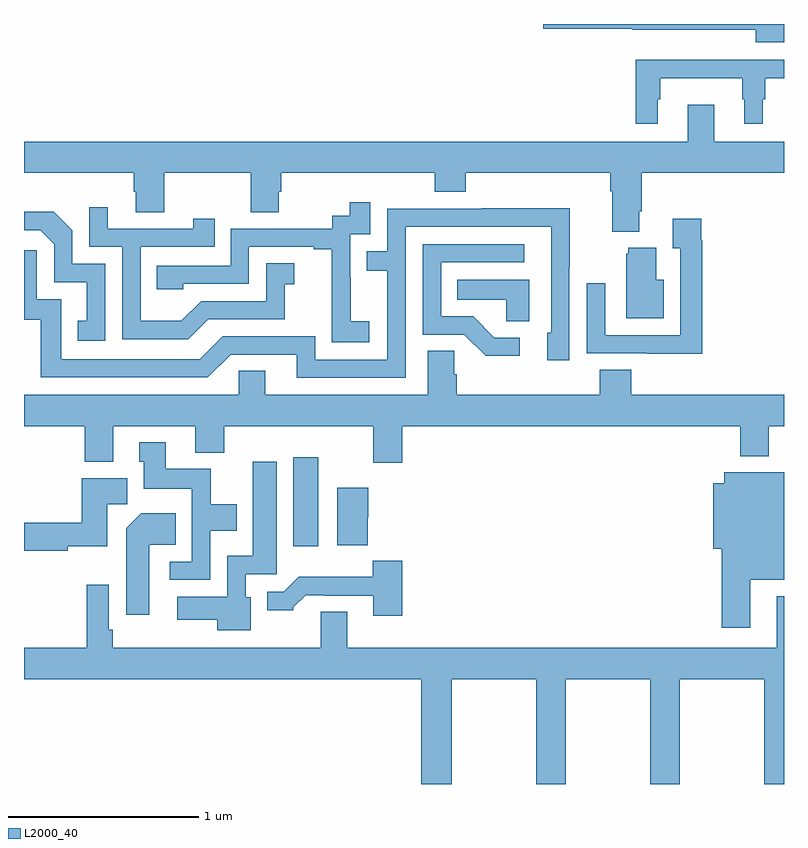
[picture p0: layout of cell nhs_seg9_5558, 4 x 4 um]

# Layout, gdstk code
import gdstk
lib = gdstk.Library(unit=1e-6, precision=1e-09)
def R(c, l, rs):  # rectangles x0, y0, x1, y1
    for r in rs: c.add(gdstk.rectangle(r[:2], r[2:], *l))
def P(c, l, *ps):  # polygons
    for p in ps: c.add(gdstk.Polygon(p, *l))
L2000_40 = (2000, 40)

nhs_seg9_5558 = lib.new_cell('nhs_seg9_5558')
R(nhs_seg9_5558, L2000_40, [(434.417,1231.752,434.548,1232.221)])
P(nhs_seg9_5558, L2000_40, [(437,1234.5),(435.732,1234.5),(435.732,1234.475),(436.2,1234.475),(436.2,1234.469),(436.85,1234.469),(436.85,1234.403),(437,1234.403)],
  [(436.336,1234.103),(436.348,1234.103),(436.348,1234.214),(436.779,1234.214),(436.779,1234.103),(436.79,1234.103),(436.79,1233.975),(436.888,1233.975),(436.888,1234.103),(436.9,1234.103),(436.9,1234.214),(437,1234.214),(437,1234.311),(436.794,1234.311),(436.794,1234.312),(436.219,1234.312),(436.219,1233.975),(436.336,1233.975)],
  [(436.237,1233.514),(436.25,1233.514),(436.25,1233.716),(437,1233.716),(437,1233.88),(436.633,1233.88),(436.633,1234.075),(436.493,1234.075),(436.493,1233.88),(433,1233.88),(433,1233.716),(433.577,1233.716),(433.577,1233.618),(433.589,1233.618),(433.589,1233.508),(433.737,1233.508),(433.737,1233.716),(434.194,1233.716),(434.194,1233.508),(434.341,1233.508),(434.341,1233.618),(434.354,1233.618),(434.354,1233.716),(435.161,1233.716),(435.161,1233.617),(435.326,1233.617),(435.326,1233.716),(436.085,1233.716),(436.085,1233.62),(436.097,1233.62),(436.097,1233.407),(436.237,1233.407)],
  [(434.818,1232.935),(434.72,1232.935),(434.72,1233.164),(434.718,1233.164),(434.718,1233.393),(434.823,1233.393),(434.823,1233.562),(434.715,1233.562),(434.715,1233.492),(434.622,1233.492),(434.622,1233.423),(434.088,1233.423),(434.088,1233.228),(433.699,1233.228),(433.699,1233.105),(433.839,1233.105),(433.839,1233.132),(434.184,1233.132),(434.184,1233.327),(434.525,1233.327),(434.525,1233.315),(434.621,1233.315),(434.621,1233.031),(434.62,1233.031),(434.62,1232.825),(434.818,1232.825)],
  [(433.969,1232.946),(434.373,1232.946),(434.373,1233.131),(434.422,1233.131),(434.422,1233.241),(434.274,1233.241),(434.274,1233.042),(433.932,1233.042),(433.828,1232.938),(433.614,1232.938),(433.614,1233.327),(434.003,1233.327),(434.003,1233.475),(433.892,1233.475),(433.892,1233.423),(433.441,1233.423),(433.441,1233.535),(433.344,1233.535),(433.344,1233.327),(433.518,1233.327),(433.518,1232.841),(433.864,1232.841)],
  [(435.009,1233.432),(435.774,1233.432),(435.774,1232.874),(435.755,1232.874),(435.755,1232.73),(435.87,1232.73),(435.87,1233.223),(435.873,1233.223),(435.873,1233.53),(435.409,1233.53),(435.409,1233.528),(434.913,1233.528),(434.913,1233.303),(434.803,1233.303),(434.803,1233.202),(434.913,1233.202),(434.913,1232.733),(434.532,1232.733),(434.532,1232.856),(434.046,1232.856),(433.926,1232.736),(433.197,1232.736),(433.197,1233.051),(433.068,1233.051),(433.068,1233.31),(433,1233.31),(433,1232.943),(433.089,1232.943),(433.089,1232.64),(433.968,1232.64),(434.088,1232.76),(434.435,1232.76),(434.435,1232.637),(435.009,1232.637)],
  [(433.428,1233.237),(433.254,1233.237),(433.254,1233.414),(433.156,1233.512),(433,1233.512),(433,1233.414),(433.086,1233.414),(433.158,1233.342),(433.158,1233.141),(433.331,1233.141),(433.331,1232.937),(433.282,1232.937),(433.282,1232.832),(433.428,1232.832)],
  [(436.571,1233.362),(436.564,1233.362),(436.564,1233.475),(436.415,1233.475),(436.415,1233.319),(436.455,1233.319),(436.455,1232.862),(436.059,1232.862),(436.059,1233.136),(435.963,1233.136),(435.963,1232.766),(436.279,1232.766),(436.279,1232.765),(436.571,1232.765)],
  [(435.61,1232.85),(435.475,1232.85),(435.364,1232.961),(435.195,1232.961),(435.195,1233.246),(435.634,1233.246),(435.634,1233.342),(435.099,1233.342),(435.099,1232.865),(435.318,1232.865),(435.431,1232.753),(435.61,1232.753)],
  [(436.366,1233.154),(436.327,1233.154),(436.327,1233.322),(436.181,1233.322),(436.181,1233.291),(436.169,1233.291),(436.169,1232.951),(436.366,1232.951)],
  [(435.658,1233.154),(435.28,1233.154),(435.28,1233.05),(435.537,1233.05),(435.537,1232.935),(435.658,1232.935)],
  [(434.99,1232.384),(436.769,1232.384),(436.769,1232.225),(436.921,1232.225),(436.921,1232.384),(437,1232.384),(437,1232.548),(436.196,1232.548),(436.196,1232.681),(436.031,1232.681),(436.031,1232.548),(435.278,1232.548),(435.278,1232.657),(435.264,1232.657),(435.264,1232.78),(435.125,1232.78),(435.125,1232.548),(434.269,1232.548),(434.269,1232.675),(434.13,1232.675),(434.13,1232.548),(433,1232.548),(433,1232.384),(433.319,1232.384),(433.319,1232.195),(433.471,1232.195),(433.471,1232.384),(433.901,1232.384),(433.901,1232.243),(434.054,1232.243),(434.054,1232.384),(434.837,1232.384),(434.837,1232.19),(434.99,1232.19)],
  [(433.98,1231.832),(434.119,1231.832),(434.119,1231.972),(433.983,1231.972),(433.983,1232.158),(433.747,1232.158),(433.747,1232.299),(433.607,1232.299),(433.607,1232.196),(433.631,1232.196),(433.631,1232.054),(433.884,1232.054),(433.884,1231.671),(433.767,1231.671),(433.767,1231.575),(433.98,1231.575)],
  [(434.194,1231.482),(434.166,1231.482),(434.166,1231.605),(434.329,1231.605),(434.329,1232.197),(434.204,1232.197),(434.204,1231.702),(434.07,1231.702),(434.07,1231.486),(433.806,1231.486),(433.806,1231.364),(434.018,1231.364),(434.018,1231.31),(434.194,1231.31)],
  [(436.822,1231.574),(437,1231.574),(437,1232.14),(436.685,1232.14),(436.685,1232.083),(436.628,1232.083),(436.628,1231.739),(436.673,1231.739),(436.673,1231.323),(436.822,1231.323)],
  [(433.23,1231.751),(433.438,1231.751),(433.438,1231.972),(433.543,1231.972),(433.543,1232.11),(433.304,1232.11),(433.304,1231.874),(433,1231.874),(433,1231.727),(433.23,1231.727)],
  [(434.81,1231.905),(434.812,1231.905),(434.812,1232.059),(434.648,1232.059),(434.648,1231.757),(434.81,1231.757)],
  [(433.66,1231.76),(433.799,1231.76),(433.799,1231.924),(433.616,1231.924),(433.538,1231.846),(433.538,1231.392),(433.66,1231.392)],
  [(434.99,1231.675),(434.835,1231.675),(434.835,1231.591),(434.446,1231.591),(434.367,1231.512),(434.279,1231.512),(434.279,1231.415),(434.418,1231.415),(434.418,1231.43),(434.482,1231.494),(434.581,1231.494),(434.581,1231.491),(434.837,1231.491),(434.837,1231.386),(434.99,1231.386)],
  [(435.252,1231.052),(435.697,1231.052),(435.697,1230.5),(435.852,1230.5),(435.852,1231.052),(436.297,1231.052),(436.297,1230.5),(436.452,1230.5),(436.452,1231.052),(436.897,1231.052),(436.897,1230.5),(437,1230.5),(437,1231.489),(436.961,1231.489),(436.961,1231.216),(434.701,1231.216),(434.701,1231.406),(434.561,1231.406),(434.561,1231.216),(433.466,1231.216),(433.466,1231.312),(433.446,1231.312),(433.446,1231.549),(433.33,1231.549),(433.33,1231.216),(433,1231.216),(433,1231.052),(435.092,1231.052),(435.092,1230.5),(435.252,1230.5)])

lib.write_gds('nhs_seg9_5558.gds')
